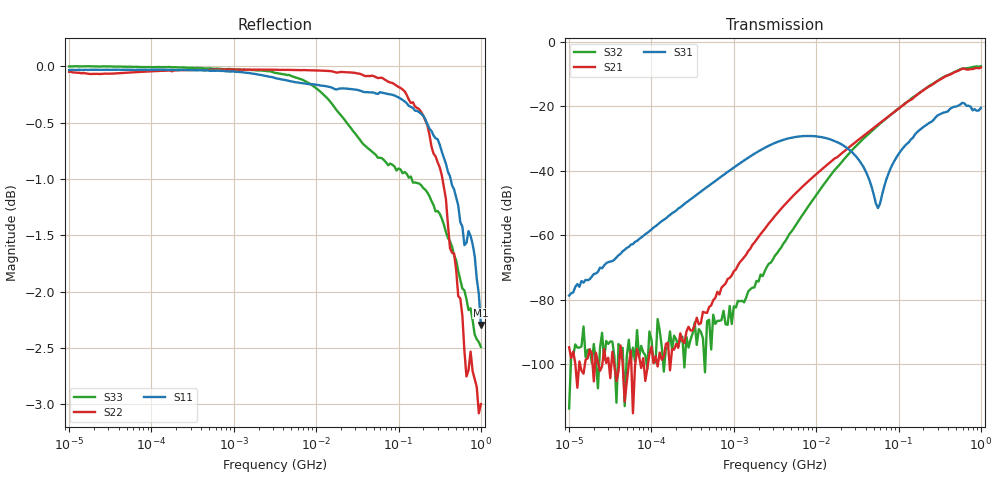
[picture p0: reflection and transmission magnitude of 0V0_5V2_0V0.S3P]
!Keysight Technologies,E5080A,MY55100144,A.11.70.03
!Date: Monday, November 13, 2017 17:25:32
!Correction: S11(Full 3 Port(1,2,3))
!S12(Full 3 Port(1,2,3))
!S13(Full 3 Port(1,2,3))
!S21(Full 3 Port(1,2,3))
!S22(Full 3 Port(1,2,3))
!S23(Full 3 Port(1,2,3))
!S31(Full 3 Port(1,2,3))
!S32(Full 3 Port(1,2,3))
!S33(Full 3 Port(1,2,3))
!S3P File: Measurements: <S11,S12,S13>,
!<S21,S22,S23>,
!<S31,S32,S33>:Log Frequency Sweep
# Hz S  RI  R 50
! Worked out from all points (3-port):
!   201 points, 10 kHz to 1 GHz, reference 50 ohm
!   strongest paths, dB at 10 kHz, 177.8 kHz, 3.162 MHz, 56.23 MHz, 1 GHz:
!     S31: -78.7, -53.2, -31.4, -51.6, -20.5
!     S21: -94.8, -95.3, -54.0, -25.7, -8.0
!     S32: -113.7, -95.5, -66.3, -26.0, -7.6
!   lowest |S11| = -2.3 dB at 1 GHz (marker M1), VSWR 7.61, Z = 381 - j0.00297 ohm
!   |S11| at or under -10 dB: nowhere
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10000  0.996 -0.00545  3.76e-06 -1.13e-05  -6.98e-06 0.000106
       1.76e-05 5.04e-06  0.4709 -0.8758  -4.41e-06 -1.26e-05
       1.71e-06 0.000116  -1.47e-06 1.44e-06  0.9998 -0.00228
50118.72  0.996 -0.0279  9.63e-06 1.95e-05  2.46e-05 0.000621
          4.87e-06 1.89e-06  -0.7915 -0.6001  -5.54e-06 5.76e-06
          6.86e-06 0.000635  4.44e-06 1.25e-05  0.9994 -0.00562
562341.3  0.9481 -0.3033  -8.33e-05 4.32e-05  0.00142 0.00642
          -8.5e-05 4.93e-05  -0.9948 -0.0576  6.87e-07 3.64e-05
          0.00141 0.00642  -3.9e-05 4.36e-05  0.996 -0.0541
3162278  0.1256 -0.98  -0.00133 0.00148  0.0207 0.0172
         -0.00132 0.00149  -0.9964 0.00471  -0.000411 0.00024
         0.0209 0.0171  -0.000421 0.000237  0.9502 -0.2889
2.113489e7  -0.9419 -0.2618  -0.00126 0.0193  0.0199 -0.0148
            -0.00116 0.0193  -0.9892 0.098  -0.00855 0.0116
            0.0199 -0.0149  -0.00856 0.0115  -0.018 -0.9486
5.623413e7  -0.9706 0.0538  0.0089 0.0511  0.00263 0.000356
            0.00893 0.0511  -0.9535 0.2588  -0.00532 0.05
            0.00261 0.000343  -0.00534 0.0499  -0.7608 -0.5006
1.059254e8  -0.9332 0.2553  0.0376 0.0894  0.00778 0.0185
            0.0376 0.0895  -0.8608 0.4643  0.0231 0.0946
            0.00784 0.0185  0.023 0.0944  -0.8952 -0.0909
3.758374e8  -0.3694 0.8264  0.2901 0.0332  0.0809 -0.00585
            0.2902 0.0332  0.0974 0.868  0.2897 0.058
            0.0809 -0.00591  0.2893 0.058  -0.4869 0.6899
7.079458e8  0.4635 0.7065  0.1987 -0.3121  0.0119 -0.1013
            0.1984 -0.3124  0.6974 0.2258  0.2459 -0.3032
            0.012 -0.1012  0.2461 -0.3031  0.2565 0.7361
1e9  0.7677 -1.6e-06  -0.0997 -0.3851  -0.0565 -0.0752
     -0.1003 -0.385  0.5908 -0.3904  -0.0461 -0.4146
     -0.0566 -0.0753  -0.0458 -0.4149  0.6826 0.3124
